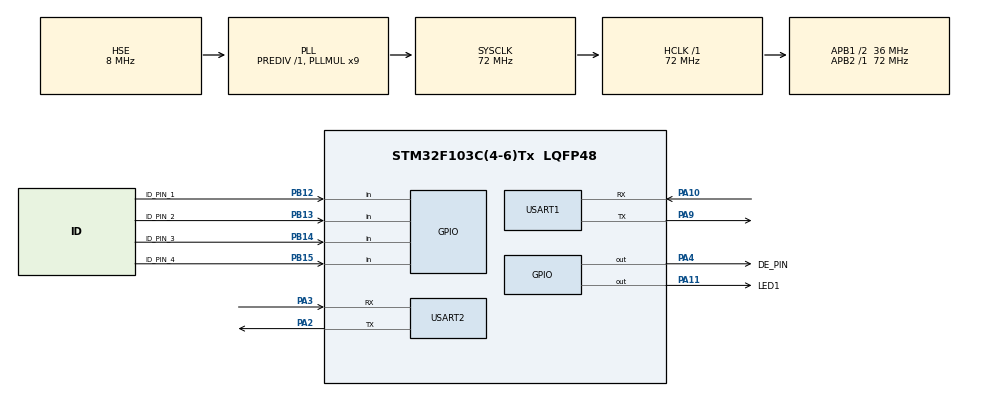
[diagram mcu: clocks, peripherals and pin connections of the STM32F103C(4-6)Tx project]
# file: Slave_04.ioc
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Dma.Request0=USART2_RX
Dma.Request1=USART2_TX
Dma.Request2=USART1_RX
Dma.Request3=USART1_TX
Dma.USART1_RX.2.Direction=DMA_PERIPH_TO_MEMORY
Dma.USART1_RX.2.Instance=DMA1_Channel5
Dma.USART1_RX.2.MemDataAlignment=DMA_MDATAALIGN_BYTE
Dma.USART1_RX.2.MemInc=DMA_MINC_ENABLE
Dma.USART1_RX.2.Mode=DMA_NORMAL
Dma.USART1_RX.2.PeriphDataAlignment=DMA_PDATAALIGN_BYTE
Dma.USART1_RX.2.PeriphInc=DMA_PINC_DISABLE
Dma.USART1_RX.2.Priority=DMA_PRIORITY_LOW
Dma.USART1_TX.3.Direction=DMA_MEMORY_TO_PERIPH
Dma.USART1_TX.3.Instance=DMA1_Channel4
Dma.USART1_TX.3.MemDataAlignment=DMA_MDATAALIGN_BYTE
Dma.USART1_TX.3.MemInc=DMA_MINC_ENABLE
Dma.USART1_TX.3.Mode=DMA_NORMAL
Dma.USART1_TX.3.PeriphDataAlignment=DMA_PDATAALIGN_BYTE
Dma.USART1_TX.3.PeriphInc=DMA_PINC_DISABLE
Dma.USART1_TX.3.Priority=DMA_PRIORITY_LOW
Dma.USART2_RX.0.Direction=DMA_PERIPH_TO_MEMORY
Dma.USART2_RX.0.Instance=DMA1_Channel6
Dma.USART2_RX.0.MemDataAlignment=DMA_MDATAALIGN_BYTE
Dma.USART2_RX.0.MemInc=DMA_MINC_ENABLE
Dma.USART2_RX.0.Mode=DMA_NORMAL
Dma.USART2_RX.0.PeriphDataAlignment=DMA_PDATAALIGN_BYTE
Dma.USART2_RX.0.PeriphInc=DMA_PINC_DISABLE
Dma.USART2_RX.0.Priority=DMA_PRIORITY_MEDIUM
Dma.USART2_TX.1.Direction=DMA_MEMORY_TO_PERIPH
Dma.USART2_TX.1.Instance=DMA1_Channel7
Dma.USART2_TX.1.MemDataAlignment=DMA_MDATAALIGN_BYTE
Dma.USART2_TX.1.MemInc=DMA_MINC_ENABLE
Dma.USART2_TX.1.Mode=DMA_NORMAL
Dma.USART2_TX.1.PeriphDataAlignment=DMA_PDATAALIGN_BYTE
Dma.USART2_TX.1.PeriphInc=DMA_PINC_DISABLE
Dma.USART2_TX.1.Priority=DMA_PRIORITY_HIGH
Mcu.Family=STM32F1
Mcu.Name=STM32F103C(4-6)Tx
Mcu.Package=LQFP48
NVIC.DMA1_Channel4_IRQn=true\:0\:0\:false\:false\:true\:false\:true\:true
NVIC.DMA1_Channel5_IRQn=true\:0\:0\:false\:false\:true\:false\:true\:true
NVIC.DMA1_Channel6_IRQn=true\:0\:0\:false\:false\:true\:false\:true\:true
NVIC.DMA1_Channel7_IRQn=true\:0\:0\:false\:false\:true\:false\:true\:true
NVIC.PriorityGroup=NVIC_PRIORITYGROUP_4
NVIC.USART1_IRQn=true\:0\:0\:false\:false\:true\:true\:true\:true
NVIC.USART2_IRQn=true\:0\:0\:false\:false\:true\:true\:true\:true
PA10.Mode=Asynchronous
PA10.Signal=USART1_RX
PA11.GPIO_Label=LED1
PA11.Signal=GPIO_Output
PA13.Mode=Serial_Wire
PA13.Signal=SYS_JTMS-SWDIO
PA14.Mode=Serial_Wire
PA14.Signal=SYS_JTCK-SWCLK
PA2.Mode=Asynchronous
PA2.Signal=USART2_TX
PA3.Mode=Asynchronous
PA3.Signal=USART2_RX
PA4.GPIO_Label=DE_PIN
PA4.Signal=GPIO_Output
PA9.Mode=Asynchronous
PA9.Signal=USART1_TX
PB12.GPIO_Label=ID_PIN_1
PB12.Signal=GPIO_Input
PB13.GPIO_Label=ID_PIN_2
PB13.Signal=GPIO_Input
PB14.GPIO_Label=ID_PIN_3
PB14.Signal=GPIO_Input
PB15.GPIO_Label=ID_PIN_4
PB15.Signal=GPIO_Input
PD0-OSC_IN.Mode=HSE-External-Oscillator
PD0-OSC_IN.Signal=RCC_OSC_IN
PD1-OSC_OUT.Mode=HSE-External-Oscillator
PD1-OSC_OUT.Signal=RCC_OSC_OUT
ProjectManager.HeapSize=0x200
ProjectManager.StackSize=0x400
ProjectManager.TargetToolchain=MDK-ARM V5.32
RCC.AHBFreq_Value=72000000
RCC.APB1CLKDivider=RCC_HCLK_DIV2
RCC.APB1Freq_Value=36000000
RCC.APB1TimFreq_Value=72000000
RCC.APB2Freq_Value=72000000
RCC.APB2TimFreq_Value=72000000
RCC.HCLKFreq_Value=72000000
RCC.PLLMUL=RCC_PLL_MUL9
RCC.PLLSourceVirtual=RCC_PLLSOURCE_HSE
RCC.SYSCLKFreq_VALUE=72000000
RCC.SYSCLKSource=RCC_SYSCLKSOURCE_PLLCLK
RCC.USBFreq_Value=72000000
TIM1.Prescaler=100-1
USART1.VirtualMode=VM_ASYNC
USART2.VirtualMode=VM_ASYNC
VP_TIM1_VS_ClockSourceINT.Mode=Internal
board=custom

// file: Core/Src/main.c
/* USER CODE BEGIN Header */
/**
  ******************************************************************************
  * @file           : main.c
  * @brief          : Main program body
  ******************************************************************************
  * @attention
  *
  * Copyright (c) 2022 STMicroelectronics.
  * All rights reserved.
  *
  * This software is licensed under terms that can be found in the LICENSE file
  * in the root directory of this software component.
  * If no LICENSE file comes with this software, it is provided AS-IS.
  *
  ******************************************************************************
  */
/* USER CODE END Header */
#include "main.h"
#include "dma.h"
#include "tim.h"
#include "usart.h"
#include "gpio.h"

/* USER CODE BEGIN Includes */
#include "string.h"
#include "slavemodbus.h"
#include "crc.h"
/* USER CODE END Includes */

/* USER CODE BEGIN PV */
bool slave_rx_flag = false;
bool dma_rx_flag = false;
/* USER CODE END PV */

void SystemClock_Config(void);

/* USER CODE BEGIN 0 */
void delay(uint16_t delay)
{
	__HAL_TIM_SET_COUNTER(&htim1,0);
	while(__HAL_TIM_GET_COUNTER(&htim1) < delay);
}

uint8_t RxBuf[RxBuf_SIZE];                      //UART2 Recive buffer
uint8_t MainBuf[MainBuf_SIZE];                  //Main buffer to store data from UART2
uint8_t RxSensorBuf[RxSensorBuf_SIZE];          //UART1 Recive buffer
uint8_t MainSensorBuf[MainSensorBuf_SIZE];      //Main buffer to store data from UART1
uint8_t slavedata[slavedata_SIZE];              //Final data to send from slave device
uint8_t slaveerrordata[slaveerrordata_SIZE];
const int HEADER = 0x59;
uint16_t check;
uint16_t dist;

extern uint8_t slave_id;

void HAL_UARTEx_RxEventCallback(UART_HandleTypeDef *huart, uint16_t Size)
{
	if(huart->Instance == USART2)
	{

		memcpy(MainBuf,RxBuf,Size);
		HAL_UARTEx_ReceiveToIdle_DMA(&huart2,RxBuf,RxBuf_SIZE);

	}
	else if(huart->Instance == USART1)
	{
		memcpy(MainSensorBuf,RxSensorBuf,Size);
 //   read_sensor(MainSensorBuf,HEADER,slave_id);     //Read sensor data
		HAL_UARTEx_ReceiveToIdle_DMA(&huart1,RxSensorBuf,RxSensorBuf_SIZE);
	}
//	else{
//				slavedata[0] = slave_id;
//				slavedata[1] = 0x09;
//				slavedata[2] = 0x00;
//				slavedata[3] = 0x00;
//				slavedata[4] = 0x00;
//				uint16_t crccheck = CRC_chk(slavedata,slavedata_SIZE-2);
//				slavedata[5] = crccheck >> 8;
//				slavedata[6] = crccheck & 0xFF;
//			}
}

/* USER CODE END 0 */

int main(void)
{

  /* MCU Configuration--------------------------------------------------------*/

  /* Reset of all peripherals, Initializes the Flash interface and the Systick. */
  HAL_Init();

  /* Configure the system clock */
  SystemClock_Config();

  /* Initialize all configured peripherals */
  MX_GPIO_Init();
  MX_DMA_Init();
  MX_USART2_UART_Init();
  MX_TIM1_Init();
  MX_USART1_UART_Init();
  /* USER CODE BEGIN 2 */
	HAL_TIM_Base_Start(&htim1);
  id_detect();                   // Slave ID Detection

	HAL_UARTEx_ReceiveToIdle_DMA(&huart1,RxSensorBuf,RxSensorBuf_SIZE);
//	__HAL_DMA_DISABLE_IT(&hdma_usart1_rx,DMA_IT_HT);

	HAL_UARTEx_ReceiveToIdle_DMA(&huart2,RxBuf,RxBuf_SIZE);
//	__HAL_DMA_DISABLE_IT(&hdma_usart2_rx,DMA_IT_HT);

  /* USER CODE END 2 */

  /* Infinite loop */
  /* USER CODE BEGIN WHILE */
	HAL_GPIO_WritePin(DE_PIN_GPIO_Port,DE_PIN_Pin,GPIO_PIN_RESET);
  while (1)
  {
		read_sensor(MainSensorBuf,HEADER,slave_id);
		validate_req(RxBuf,RxBuf_SIZE);   // modbus Transmit

    /* USER CODE END WHILE */

  }
}

void SystemClock_Config(void)
{
  RCC_OscInitTypeDef RCC_OscInitStruct = {0};
  RCC_ClkInitTypeDef RCC_ClkInitStruct = {0};

  /** Initializes the RCC Oscillators according to the specified parameters
  * in the RCC_OscInitTypeDef structure.
  */
  RCC_OscInitStruct.OscillatorType = RCC_OSCILLATORTYPE_HSE;
  RCC_OscInitStruct.HSEState = RCC_HSE_ON;
  RCC_OscInitStruct.HSEPredivValue = RCC_HSE_PREDIV_DIV1;
  RCC_OscInitStruct.HSIState = RCC_HSI_ON;
  RCC_OscInitStruct.PLL.PLLState = RCC_PLL_ON;
  RCC_OscInitStruct.PLL.PLLSource = RCC_PLLSOURCE_HSE;
  RCC_OscInitStruct.PLL.PLLMUL = RCC_PLL_MUL9;
  if (HAL_RCC_OscConfig(&RCC_OscInitStruct) != HAL_OK)
  {
    Error_Handler();
  }

  /** Initializes the CPU, AHB and APB buses clocks
  */
  RCC_ClkInitStruct.ClockType = RCC_CLOCKTYPE_HCLK|RCC_CLOCKTYPE_SYSCLK
                              |RCC_CLOCKTYPE_PCLK1|RCC_CLOCKTYPE_PCLK2;
  RCC_ClkInitStruct.SYSCLKSource = RCC_SYSCLKSOURCE_PLLCLK;
  RCC_ClkInitStruct.AHBCLKDivider = RCC_SYSCLK_DIV1;
  RCC_ClkInitStruct.APB1CLKDivider = RCC_HCLK_DIV2;
  RCC_ClkInitStruct.APB2CLKDivider = RCC_HCLK_DIV1;

  if (HAL_RCC_ClockConfig(&RCC_ClkInitStruct, FLASH_LATENCY_2) != HAL_OK)
  {
    Error_Handler();
  }
}

void Error_Handler(void)
{
  __disable_irq();
  while (1)
  {
  }
}
